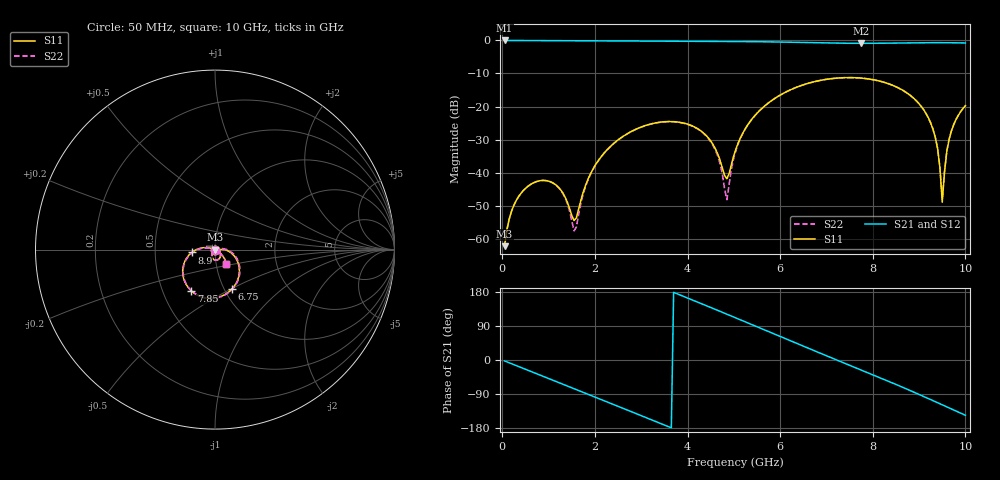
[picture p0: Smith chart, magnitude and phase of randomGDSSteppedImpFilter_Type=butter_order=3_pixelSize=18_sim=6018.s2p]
! freq	dB(S11)	phase(S11)	dB(S12)	phase(S12)
!  dB(S21)	phase(S21)	dB(S22)	phase(S22)
!S-par simulation data
#  GHz  S  DB  R 50
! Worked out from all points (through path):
!   200 points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, 50 MHz to 10 GHz, reference 50 ohm
!   highest |S21| = -0.01 dB at 50 MHz (marker M1); lowest = -0.9 dB at 7.75 GHz (marker M2)
!   group delay of S21, straight-line fit = 140 ps
!   lowest |S11| = -62.2 dB at 50 MHz (marker M3), VSWR 1.00, Z = 50 - j0.0637 ohm
!   |S11| at or under -10 dB: start of sweep to end of sweep
!   |S22| runs from -62.2 to -11.2 dB; largest |S21 - S12| = 0
!   S11 on the Smith chart (normalised r, x): 50 MHz: 1.00, -0.00; 6.75 GHz: 1.09, -0.51; 7.85 GHz: 0.70, -0.34; 8.9 GHz: 0.77, -0.02; 10 GHz: 1.12, -0.18
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0.05  -62.24 -55.4  -0.01 -2.5  -0.01 -2.5  -62.24 -55.4
0.25  -49.88 -95.1  -0.02 -12.3  -0.02 -12.3  -49.87 -94.8
0.6  -43.67 -120.1  -0.04 -29.3  -0.04 -29.3  -43.66 -119.3
1.2  -44.23 -159.8  -0.07 -58.6  -0.07 -58.6  -44.30 -156.4
1.55  -54.51 115.5  -0.09 -75.7  -0.09 -75.7  -57.60 121.1
1.75  -45.79 29.7  -0.10 -85.5  -0.10 -85.5  -46.30 21.7
2.35  -31.86 -18.0  -0.13 -114.9  -0.13 -114.9  -31.92 -20.9
3.4  -24.74 -71.6  -0.22 -166.6  -0.22 -166.6  -24.78 -74.1
4.45  -29.50 -115.9  -0.29 141.1  -0.29 141.1  -29.69 -122.5
4.85  -41.85 -55.1  -0.31 120.9  -0.31 120.9  -48.18 -50.1
5.05  -32.64 0.6  -0.33 110.8  -0.33 110.8  -33.04 11.6
5.65  -20.01 -14.1  -0.40 80.0  -0.40 80.0  -20.02 -11.2
6.7  -12.61 -64.0  -0.68 26.3  -0.68 26.3  -12.61 -62.7
6.75  -12.44 -66.5  -0.70 23.8  -0.70 23.8  -12.44 -65.2
7.75  -11.39 -115.2  -0.87 -26.3  -0.87 -26.3  -11.39 -114.2
7.85  -11.54 -120.1  -0.87 -31.3  -0.87 -31.3  -11.54 -119.1
8.35  -13.15 -144.8  -0.82 -56.7  -0.82 -56.7  -13.15 -143.8
8.9  -17.71 -173.1  -0.71 -85.5  -0.71 -85.5  -17.71 -171.8
9.35  -29.29 163.4  -0.67 -109.9  -0.67 -109.9  -29.31 166.4
9.5  -48.95 -100.2  -0.68 -118.2  -0.68 -118.2  -47.96 -109.9
9.65  -29.83 -33.7  -0.69 -126.5  -0.69 -126.5  -29.76 -35.4
10  -19.74 -52.3  -0.77 -145.8  -0.77 -145.8  -19.72 -52.3
